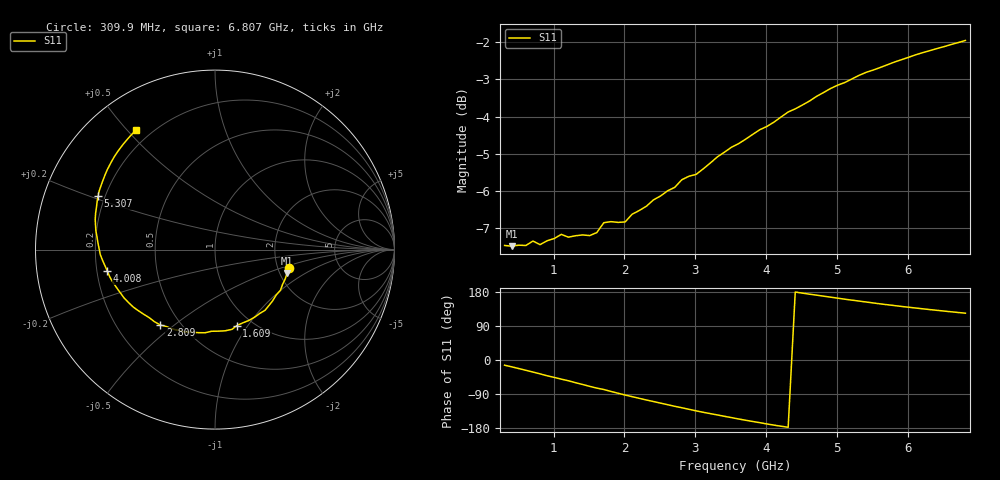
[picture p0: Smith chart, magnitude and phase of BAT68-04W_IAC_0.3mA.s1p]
! Infineon Technologies  Discrete & RF Semiconductors
! BAT68-04W
! IAC = 0.3 mA
! One-Port S-Parameters
# Hz  S  MA  R  50
!f  S11
!Hz  Mag  Ang
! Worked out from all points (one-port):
!   66 points, 309.9 MHz to 6.807 GHz, reference 50 ohm
!   lowest |S11| = -7.5 dB at 409.8 MHz (marker M1), VSWR 2.46, Z = 110 - j34.9 ohm
!   |S11| at or under -10 dB: nowhere
!   S11 on the Smith chart (normalised r, x): 309.9 MHz: 2.30, -0.56; 1.609 GHz: 0.85, -0.89; 2.809 GHz: 0.39, -0.45; 4.008 GHz: 0.24, -0.09; 5.307 GHz: 0.17, +0.21; 6.807 GHz: 0.14, +0.53
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3.0985e8  0.4235 -13.7
4.098e8  0.4225 -18.0
7.0965e8  0.4293 -31.8
8.096e8  0.4246 -36.6
1.10945e9  0.4382 -50.5
1.2094e9  0.4345 -54.8
1.4093e9  0.4375 -64.6
1.6092e9  0.4406 -74.2
1.70915e9  0.4544 -77.9
1.8091e9  0.4558 -82.9
2.009e9  0.4554 -92.4
2.10895e9  0.4665 -96.8
2.4088e9  0.4876 -109.6
2.8086e9  0.5189 -126.0
3.0085e9  0.5275 -134.1
3.30835e9  0.5568 -144.9
3.6082e9  0.5802 -155.6
4.008e9  0.6119 -168.8
4.30785e9  0.6399 -177.5
4.4078e9  0.6461 179.4
4.70765e9  0.6715 171.1
4.90755e9  0.6882 165.8
5.2074e9  0.7087 157.9
5.30735e9  0.7166 155.5
5.6072e9  0.7343 148.1
6.007e9  0.7579 139.2
6.30685e9  0.7736 133.0
6.8066e9  0.7983 123.5
